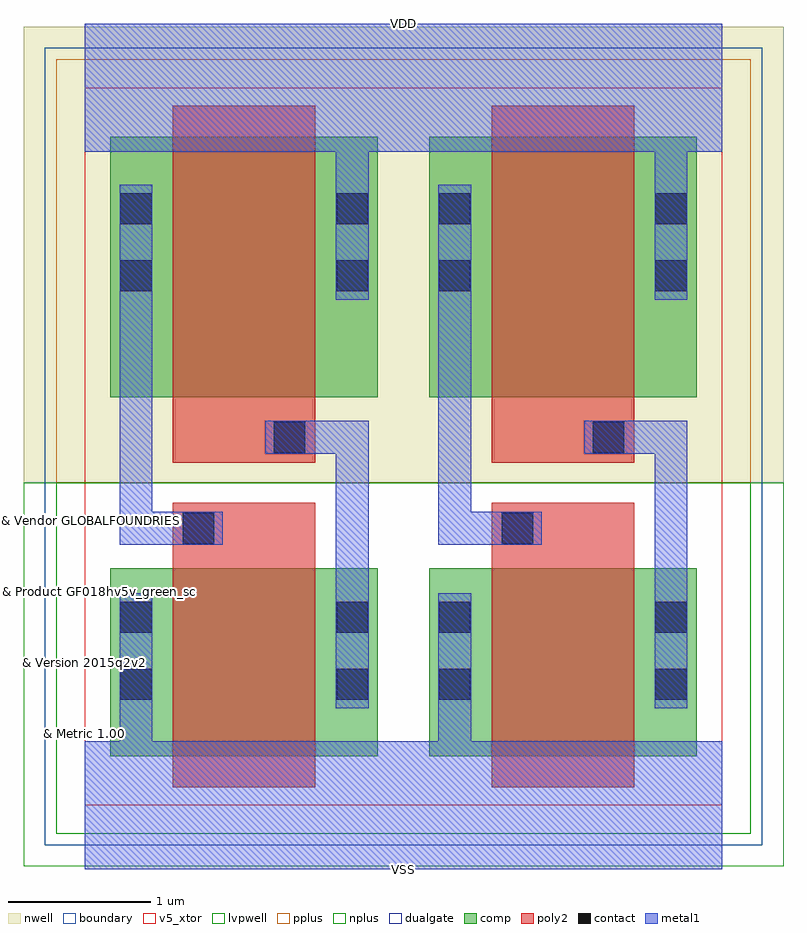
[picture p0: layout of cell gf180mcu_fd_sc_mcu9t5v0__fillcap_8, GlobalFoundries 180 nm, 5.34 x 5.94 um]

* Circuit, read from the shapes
.subckt gf180mcu_fd_sc_mcu9t5v0__fillcap_8 VDD VSS
XM1 n1 n2 VSS VSUBS nfet_05v0 w=1.32u l=1u
XM2 n3 n4 VSS VSUBS nfet_05v0 w=1.32u l=1u
XM3 VDD n1 n2 n5 pfet_05v0 w=1.83u l=1u
XM4 VDD n3 n4 n5 pfet_05v0 w=1.83u l=1u
.ends

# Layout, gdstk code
import gdstk
lib = gdstk.Library(unit=1e-6, precision=1e-09)
def R(c, l, rs):  # rectangles x0, y0, x1, y1
    for r in rs: c.add(gdstk.rectangle(r[:2], r[2:], *l))
def P(c, l, *ps):  # polygons
    for p in ps: c.add(gdstk.Polygon(p, *l))
boundary = (0, 0)
nwell = (21, 0)
comp = (22, 0)
poly2 = (30, 0)
pplus = (31, 0)
nplus = (32, 0)
contact = (33, 0)
metal1 = (34, 0)
dualgate = (55, 0)
v5_xtor = (112, 1)
lvpwell = (204, 0)

gf180mcu_fd_sc_mcu9t5v0_ = lib.new_cell('gf180mcu_fd_sc_mcu9t5v0__fillcap_8')
R(gf180mcu_fd_sc_mcu9t5v0_, boundary, [(0,0,4.48,5.04)])
R(gf180mcu_fd_sc_mcu9t5v0_, nwell, [(-0.43,2.265,4.91,5.47)])
R(gf180mcu_fd_sc_mcu9t5v0_, comp, [(0.18,0.345,2.06,1.665), (2.42,0.345,4.3,1.665), (0.18,2.865,2.06,4.695), (2.42,2.865,4.3,4.695)])
R(gf180mcu_fd_sc_mcu9t5v0_, poly2, [(0.62,0.125,1.62,2.125), (2.86,0.125,3.86,2.125), (0.62,2.405,1.62,4.915), (2.86,2.405,3.86,4.915)])
R(gf180mcu_fd_sc_mcu9t5v0_, pplus, [(-0.2,2.265,4.68,5.24)])
R(gf180mcu_fd_sc_mcu9t5v0_, nplus, [(-0.2,-0.2,4.68,2.265)])
R(gf180mcu_fd_sc_mcu9t5v0_, contact, [(0.25,0.74,0.47,0.96), (1.77,0.74,1.99,0.96), (2.49,0.74,2.71,0.96), (4.01,0.74,4.23,0.96), (0.25,1.21,0.47,1.43), (1.77,1.21,1.99,1.43), (2.49,1.21,2.71,1.43), (4.01,1.21,4.23,1.43), (0.69,1.835,0.91,2.055), (2.93,1.835,3.15,2.055), (1.33,2.475,1.55,2.695), (3.57,2.475,3.79,2.695), (0.25,3.61,0.47,3.83), (1.77,3.61,1.99,3.83), (2.49,3.61,2.71,3.83), (4.01,3.61,4.23,3.83), (0.25,4.08,0.47,4.3), (1.77,4.08,1.99,4.3), (2.49,4.08,2.71,4.3), (4.01,4.08,4.23,4.3)])
P(gf180mcu_fd_sc_mcu9t5v0_, metal1, [(0.245,1.83),(0.245,4.36),(0.475,4.36),(0.475,2.06),(0.97,2.06),(0.97,1.83)],
  [(1.765,0.68),(1.765,2.47),(1.27,2.47),(1.27,2.7),(1.995,2.7),(1.995,0.68)],
  [(2.485,1.83),(2.485,4.36),(2.715,4.36),(2.715,2.06),(3.21,2.06),(3.21,1.83)],
  [(4.005,0.68),(4.005,2.47),(3.51,2.47),(3.51,2.7),(4.235,2.7),(4.235,0.68)],
  [(0,-0.45),(0,0.45),(0.245,0.45),(0.245,1.49),(0.475,1.49),(0.475,0.45),(2.485,0.45),(2.485,1.49),(2.715,1.49),(2.715,0.45),(4.48,0.45),(4.48,-0.45)],
  [(1.765,3.55),(1.765,4.59),(0,4.59),(0,5.49),(4.48,5.49),(4.48,4.59),(4.235,4.59),(4.235,3.55),(4.005,3.55),(4.005,4.59),(1.995,4.59),(1.995,3.55)])
R(gf180mcu_fd_sc_mcu9t5v0_, dualgate, [(-0.28,-0.28,4.76,5.32)])
R(gf180mcu_fd_sc_mcu9t5v0_, v5_xtor, [(0,0,4.48,5.04)])
R(gf180mcu_fd_sc_mcu9t5v0_, lvpwell, [(-0.43,-0.43,4.91,2.265)])
gf180mcu_fd_sc_mcu9t5v0_.add(gdstk.Label('VDD', (2.24,5.49), layer=34, texttype=10))
gf180mcu_fd_sc_mcu9t5v0_.add(gdstk.Label('VSS', (2.24,-0.45), layer=34, texttype=10))
gf180mcu_fd_sc_mcu9t5v0_.add(gdstk.Label('& Vendor GLOBALFOUNDRIES', (0,2), layer=63, texttype=63))
gf180mcu_fd_sc_mcu9t5v0_.add(gdstk.Label('& Product GF018hv5v_green_sc9', (0,1.5), layer=63, texttype=63))
gf180mcu_fd_sc_mcu9t5v0_.add(gdstk.Label('& Version 2015q2v2', (0,1), layer=63, texttype=63))
gf180mcu_fd_sc_mcu9t5v0_.add(gdstk.Label('& Metric 1.00', (0,0.5), layer=63, texttype=63))

lib.write_gds('gf180mcu_fd_sc_mcu9t5v0__fillcap_8.gds')
